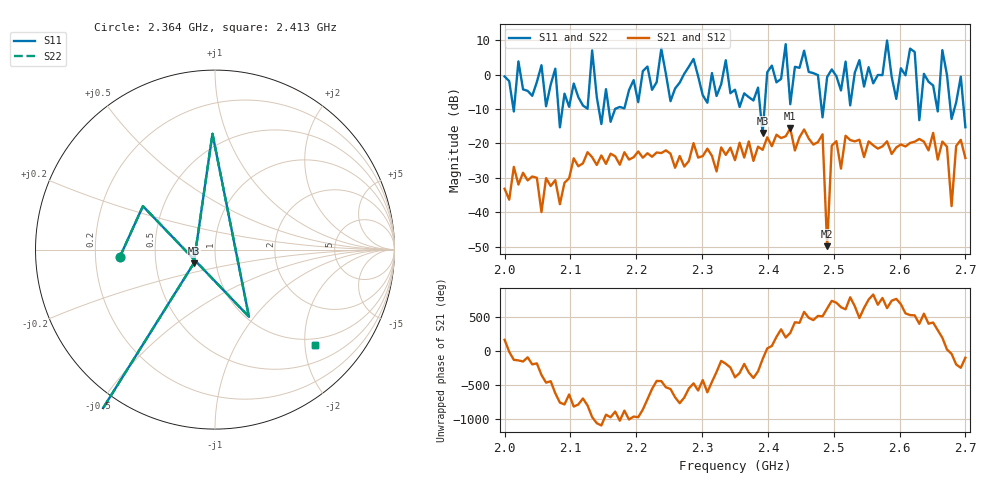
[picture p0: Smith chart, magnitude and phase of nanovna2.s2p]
! Comments
# Hz S RI R 50
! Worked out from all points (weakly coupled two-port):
!   101 points, 2 GHz to 2.7 GHz, reference 50 ohm
!   highest |S21| = -15.66 dB at 2.434 GHz (marker M1); lowest = -49.9 dB at 2.49 GHz (marker M2)
!   lowest |S11| = -17.0 dB at 2.392 GHz (marker M3), VSWR 1.33, Z = 39 - j6.11 ohm
!   |S11| at or under -10 dB: 2.01341 GHz to 2.014358 GHz (947.8 kHz wide, 0.0471 % of centre); 2.0818 GHz to 2.08783 GHz (6.029 MHz wide, 0.289 % of centre); 2.143094 GHz to 2.15003 GHz (6.936 MHz wide, 0.323 % of centre) (the widest 3 of 10)
!   |S22| runs from -17.0 to 9.9 dB; largest |S21 - S12| = 0
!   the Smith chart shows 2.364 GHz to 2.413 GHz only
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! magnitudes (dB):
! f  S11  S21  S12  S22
! 2 GHz  -0.6  -33.2  -33.2  -0.6
! 2.119 GHz  -9.0  -25.8  -25.8  -9.0
! 2.133 GHz  7.0  -24.0  -24.0  7.0
! 2.147 GHz  -14.4  -23.5  -23.5  -14.4
! 2.238 GHz  7.5  -22.8  -22.8  7.5
! 2.252 GHz  -7.7  -23.0  -23.0  -7.7
! 2.35 GHz  -4.4  -24.9  -24.9  -4.4
! 2.392 GHz  -17.0  -21.9  -21.9  -17.0
! 2.399 GHz  0.7  -18.2  -18.2  0.7
! 2.427 GHz  8.8  -17.9  -17.9  8.8
! 2.434 GHz  -8.6  -15.7  -15.7  -8.6
! 2.469 GHz  0.4  -20.4  -20.4  0.4
! 2.483 GHz  -12.5  -17.4  -17.4  -12.5
! 2.49 GHz  -0.7  -49.9  -49.9  -0.7
! 2.497 GHz  1.5  -20.7  -20.7  1.5
! 2.588 GHz  -0.7  -23.1  -23.1  -0.7
! 2.623 GHz  6.5  -19.5  -19.5  6.5
! 2.658 GHz  -10.7  -24.7  -24.7  -10.7
! 2.665 GHz  7.1  -19.5  -19.5  7.1
! 2.679 GHz  -12.9  -38.2  -38.2  -12.9
! 2.693 GHz  -0.6  -19.0  -19.0  -0.6
! 2.7 GHz  -15.3  -24.3  -24.3  -15.3
